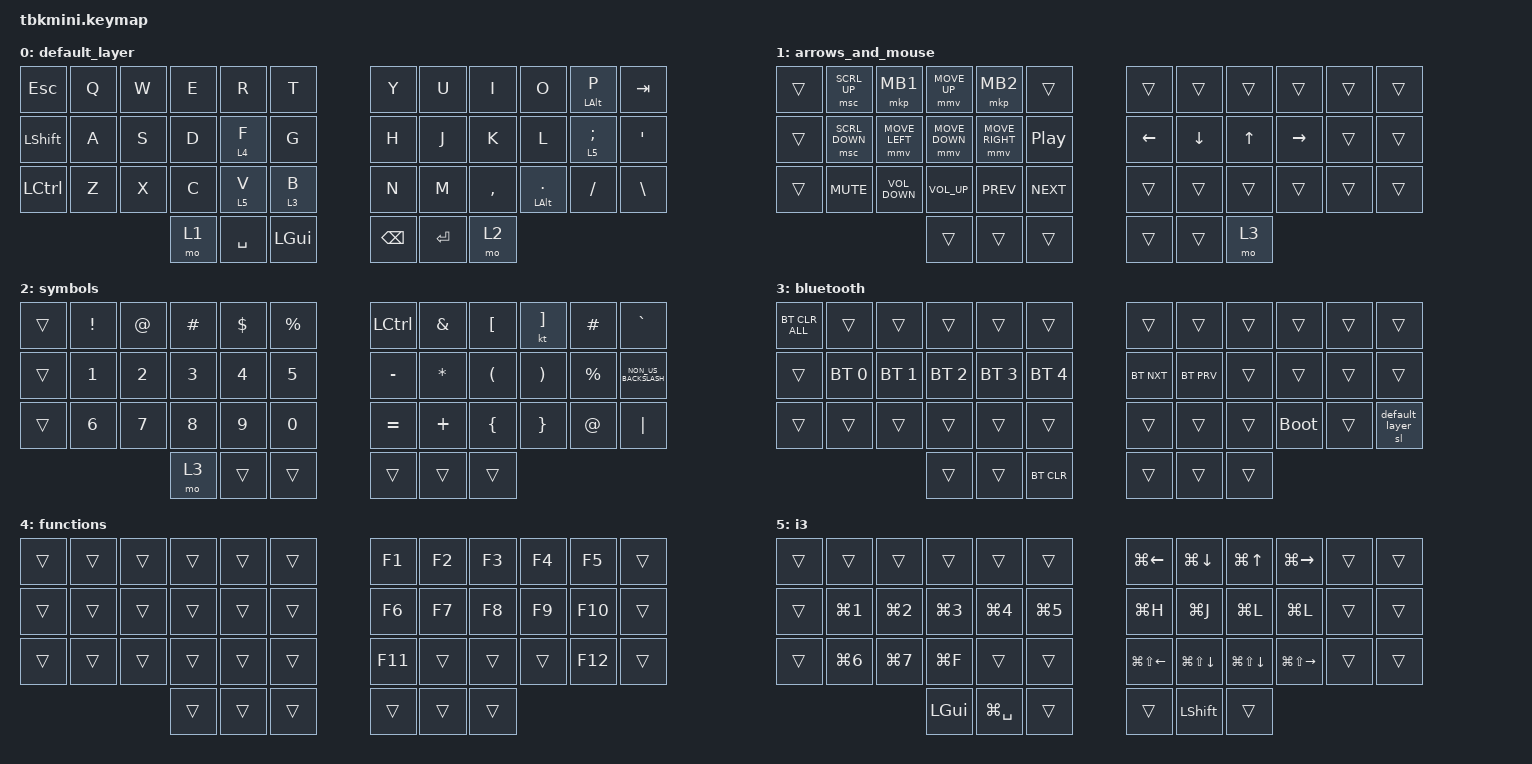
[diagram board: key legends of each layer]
#define default_layer       0 // Default layer
#define arrows_and_mouse    1
#define symbols             2
#define bluetooth           3
#define ZMK_MOUSE_DEFAULT_MOVE_VAL 1500  // 600
#define ZMK_MOUSE_DEFAULT_SCRL_VAL 20    // 10

#include <behaviors.dtsi>
#include <dt-bindings/zmk/bt.h>
#include <dt-bindings/zmk/keys.h>
#include <dt-bindings/zmk/keys.h>
#include <dt-bindings/zmk/mouse.h>

&mmv {
    acceleration-exponent = <1>;      // 1
    time-to-max-speed-ms = <500>;     // 300
    delay-ms = <0>;                   // 0
};

&msc {
    acceleration-exponent = <1>;      // 0
    time-to-max-speed-ms = <40>;      // 300
    delay-ms = <0>;                   // 0
};

/ {
    behaviors {
        home_row_left: home_row_left {
            compatible = "zmk,behavior-hold-tap";
            label = "HOME_ROW_LEFT";
            bindings = <&kp>, <&kp>;

            #binding-cells = <2>;
            tapping-term-ms = <200>;
            quick-tap-ms = <175>;
            flavor = "tap-preferred";
            hold-trigger-on-release;
        };

        home_row_right: home_row_right {
            compatible = "zmk,behavior-hold-tap";
            label = "HOME_ROW_RIGHT";
            bindings = <&kp>, <&kp>;

            #binding-cells = <2>;
            tapping-term-ms = <200>;
            quick-tap-ms = <175>;
            flavor = "tap-preferred";
            hold-trigger-on-release;
        };

        function_layer: function_layer {
            compatible = "zmk,behavior-hold-tap";
            label = "FUNCTION_LAYER";
            bindings = <&mo>, <&kp>;

            #binding-cells = <2>;
            hold-trigger-on-release;
            hold-trigger-key-positions = <16>;
            flavor = "tap-preferred";
            tapping-term-ms = <200>;
            quick-tap-ms = <175>;
        };

        i3: i3 {
            compatible = "zmk,behavior-hold-tap";
            label = "I3";
            bindings = <&mo>, <&kp>;

            #binding-cells = <2>;
            tapping-term-ms = <130>;
            hold-trigger-on-release;
            flavor = "tap-preferred";
            quick-tap-ms = <75>;
        };
    };

    combos {
        compatible = "zmk,combos";

        screen1 {
            bindings = <&kp LG(NUMBER_1)>;
            key-positions = <30 13 38>;
            layers = <0>;
            timeout-ms = <50>;
            require-prior-idle-ms = <100>;
        };

        screen2 {
            bindings = <&kp LG(NUMBER_2)>;
            key-positions = <30 14 38>;
            layers = <0>;
            timeout-ms = <50>;
            require-prior-idle-ms = <100>;
        };
    };

    keymap {
        compatible = "zmk,keymap";

        default_layer {
            // ---------------------------------------------------------------------------------------------------------------------------------
            // |  ESC  |  Q  |  W  |  F   |  P   |  T   |    |  J   |  L   |  U  |  Y  |  '  |   \  |
            // |  TAB  |  A  |  R  |  S   |  T   |  G   |    |  M   |  N   |  E  |  I  |  O  |   '  |
            // | SHIFT |  Z  |  X  |  C   |  D   |  V   |    |  K   |  H   |  ,  |  .  |  /  | CTRL |
            //                     | ESC  | SPC  | TAB  |    | RET  | BSPC | DEL |

            bindings = <
&kp ESC         &kp Q  &kp W  &kp E  &kp R                &kp T                  &kp Y          &kp U      &kp I      &kp O             &mt LEFT_ALT P   &kp TAB
&kp LEFT_SHIFT  &kp A  &kp S  &kp D  &function_layer 4 F  &kp G                  &kp H          &kp J      &kp K      &kp L             &i3 5 SEMICOLON  &kp SQT
&kp LCTRL       &kp Z  &kp X  &kp C  &i3 5 V              &function_layer 3 B    &kp N          &kp M      &kp COMMA  &mt LEFT_ALT DOT  &kp FSLH         &kp BACKSLASH
                              &mo 1  &kp SPACE            &kp LEFT_GUI           &kp BACKSPACE  &kp ENTER  &mo 2
            >;
        };

        arrows_and_mouse {
            bindings = <
&trans  &msc SCRL_UP    &mkp MB1           &mmv MOVE_UP     &mkp MB2         &trans              &trans          &trans          &trans        &trans     &trans  &trans
&trans  &msc SCRL_DOWN  &mmv MOVE_LEFT     &mmv MOVE_DOWN   &mmv MOVE_RIGHT  &kp C_PLAY_PAUSE    &kp LEFT_ARROW  &kp DOWN_ARROW  &kp UP_ARROW  &kp RIGHT  &trans  &trans
&trans  &kp C_MUTE      &kp C_VOLUME_DOWN  &kp C_VOLUME_UP  &kp C_PREV       &kp C_NEXT          &trans          &trans          &trans        &trans     &trans  &trans
                                           &trans           &trans           &trans              &trans          &trans          &mo 3
            >;
        };

        symbols {
            bindings = <
&trans  &kp EXCLAMATION  &kp AT_SIGN  &kp HASH  &kp DOLLAR  &kp PERCENT    &kp LCTRL  &kp AMPERSAND  &kp LEFT_BRACKET      &kt RIGHT_BRACKET      &kp HASH     &kp GRAVE
&trans  &kp N1           &kp N2       &kp N3    &kp N4      &kp N5         &kp MINUS  &kp ASTERISK   &kp LEFT_PARENTHESIS  &kp RIGHT_PARENTHESIS  &kp PERCENT  &kp NON_US_BACKSLASH
&trans  &kp N6           &kp N7       &kp N8    &kp N9      &kp N0         &kp EQUAL  &kp PLUS       &kp LEFT_BRACE        &kp RIGHT_BRACE        &kp AT_SIGN  &kp PIPE
                                      &mo 3     &trans      &trans         &trans     &trans         &trans
            >;
        };

        bluetooth {
            bindings = <
&bt BT_CLR_ALL  &trans        &trans        &trans        &trans        &trans          &trans      &trans      &trans  &trans       &trans  &trans
&trans          &bt BT_SEL 0  &bt BT_SEL 1  &bt BT_SEL 2  &bt BT_SEL 3  &bt BT_SEL 4    &bt BT_NXT  &bt BT_PRV  &trans  &trans       &trans  &trans
&trans          &trans        &trans        &trans        &trans        &trans          &trans      &trans      &trans  &bootloader  &trans  &sl default_layer
                                            &trans        &trans        &bt BT_CLR      &trans      &trans      &trans
            >;
        };

        functions {
            bindings = <
&trans  &trans  &trans  &trans  &trans  &trans    &kp F1   &kp F2  &kp F3  &kp F4  &kp F5   &trans
&trans  &trans  &trans  &trans  &trans  &trans    &kp F6   &kp F7  &kp F8  &kp F9  &kp F10  &trans
&trans  &trans  &trans  &trans  &trans  &trans    &kp F11  &trans  &trans  &trans  &kp F12  &trans
                        &trans  &trans  &trans    &trans   &trans  &trans
            >;
        };

        i3 {
            bindings = <
&trans  &trans            &trans            &trans            &trans            &trans        &kp LG(LEFT)      &kp LG(DOWN)      &kp LG(UP_ARROW)  &kp LG(RIGHT)      &trans  &trans
&trans  &kp LG(NUMBER_1)  &kp LG(NUMBER_2)  &kp LG(NUMBER_3)  &kp LG(NUMBER_4)  &kp LG(N5)    &kp LG(H)         &kp LG(J)         &kp LG(L)         &kp LG(L)          &trans  &trans
&trans  &kp LG(NUMBER_6)  &kp LG(N7)        &kp LG(F)         &trans            &trans        &kp LG(LS(LEFT))  &kp LG(LS(DOWN))  &kp LG(LS(DOWN))  &kp LG(LS(RIGHT))  &trans  &trans
                                            &kp LEFT_GUI      &kp LG(SPACE)     &trans        &trans            &kp LEFT_SHIFT    &trans
            >;
        };
    };
};
